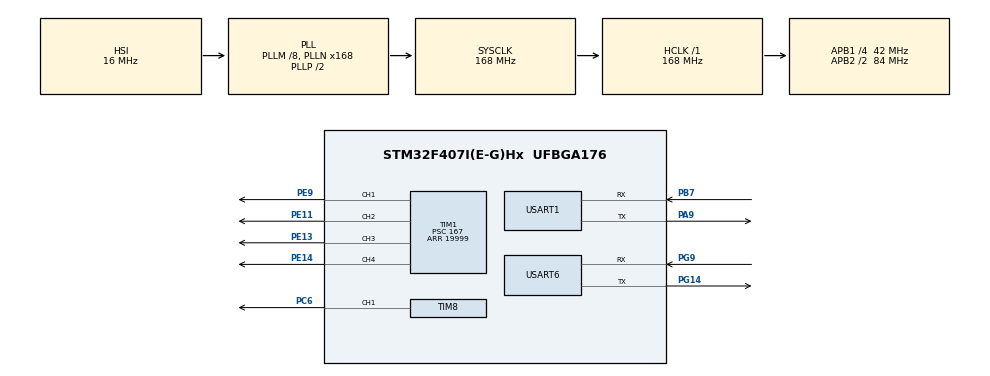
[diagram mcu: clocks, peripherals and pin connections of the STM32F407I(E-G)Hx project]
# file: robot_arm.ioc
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FREERTOS.Tasks01=defaultTask,0,128,StartDefaultTask,Default,NULL,Dynamic,NULL,NULL
Mcu.Family=STM32F4
Mcu.Name=STM32F407I(E-G)Hx
Mcu.Package=UFBGA176
NVIC.PriorityGroup=NVIC_PRIORITYGROUP_4
NVIC.TIM6_DAC_IRQn=true\:15\:0\:false\:false\:true\:false\:false\:true\:true
NVIC.TimeBase=TIM6_DAC_IRQn
NVIC.TimeBaseIP=TIM6
NVIC.USART1_IRQn=true\:5\:0\:false\:false\:true\:true\:true\:true\:true
NVIC.USART6_IRQn=true\:5\:0\:false\:false\:true\:true\:true\:true\:true
PA13.Mode=Serial_Wire
PA13.Signal=SYS_JTMS-SWDIO
PA14.Mode=Serial_Wire
PA14.Signal=SYS_JTCK-SWCLK
PA9.Mode=Asynchronous
PA9.Signal=USART1_TX
PB7.Mode=Asynchronous
PB7.Signal=USART1_RX
PC6.Signal=S_TIM8_CH1
PE11.Signal=S_TIM1_CH2
PE13.Signal=S_TIM1_CH3
PE14.Signal=S_TIM1_CH4
PE9.Signal=S_TIM1_CH1
PG14.Mode=Asynchronous
PG14.Signal=USART6_TX
PG9.Mode=Asynchronous
PG9.Signal=USART6_RX
PH0-OSC_IN.Mode=HSE-External-Oscillator
PH0-OSC_IN.Signal=RCC_OSC_IN
PH1-OSC_OUT.Mode=HSE-External-Oscillator
PH1-OSC_OUT.Signal=RCC_OSC_OUT
ProjectManager.HeapSize=0x200
ProjectManager.StackSize=0x400
ProjectManager.TargetToolchain=MDK-ARM V5.32
RCC.48MHZClocksFreq_Value=84000000
RCC.AHBFreq_Value=168000000
RCC.APB1CLKDivider=RCC_HCLK_DIV4
RCC.APB1Freq_Value=42000000
RCC.APB1TimFreq_Value=84000000
RCC.APB2CLKDivider=RCC_HCLK_DIV2
RCC.APB2Freq_Value=84000000
RCC.APB2TimFreq_Value=168000000
RCC.CortexFreq_Value=168000000
RCC.HCLKFreq_Value=168000000
RCC.HSE_VALUE=25000000
RCC.HSI_VALUE=16000000
RCC.LSE_VALUE=32768
RCC.PLLM=8
RCC.PLLN=168
RCC.SYSCLKFreq_VALUE=168000000
RCC.SYSCLKSource=RCC_SYSCLKSOURCE_PLLCLK
RCC.VCOOutputFreq_Value=336000000
SH.S_TIM1_CH1.0=TIM1_CH1,PWM Generation1 CH1
SH.S_TIM1_CH2.0=TIM1_CH2,PWM Generation2 CH2
SH.S_TIM1_CH3.0=TIM1_CH3,PWM Generation3 CH3
SH.S_TIM1_CH4.0=TIM1_CH4,PWM Generation4 CH4
SH.S_TIM8_CH1.0=TIM8_CH1,PWM Generation1 CH1
TIM1.AutoReloadPreload=TIM_AUTORELOAD_PRELOAD_ENABLE
TIM1.Channel-PWM\ Generation1\ CH1=TIM_CHANNEL_1
TIM1.Channel-PWM\ Generation2\ CH2=TIM_CHANNEL_2
TIM1.Channel-PWM\ Generation3\ CH3=TIM_CHANNEL_3
TIM1.Channel-PWM\ Generation4\ CH4=TIM_CHANNEL_4
TIM1.Period=19999
TIM1.Prescaler=167
TIM1.Pulse-PWM\ Generation2\ CH2=1500
TIM1.Pulse-PWM\ Generation3\ CH3=1500
TIM1.Pulse-PWM\ Generation4\ CH4=1500
TIM8.Channel-PWM\ Generation1\ CH1=TIM_CHANNEL_1
TIM8.Period=19999
TIM8.Prescaler=167
USART1.VirtualMode=VM_ASYNC
USART6.VirtualMode=VM_ASYNC
VP_FREERTOS_VS_CMSIS_V1.Mode=CMSIS_V1
VP_SYS_VS_tim6.Mode=TIM6
board=custom

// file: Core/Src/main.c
/* USER CODE BEGIN Header */
/**
  ******************************************************************************
  * @file           : main.c
  * @brief          : Main program body
  ******************************************************************************
  * @attention
  *
  * Copyright (c) 2024 STMicroelectronics.
  * All rights reserved.
  *
  * This software is licensed under terms that can be found in the LICENSE file
  * in the root directory of this software component.
  * If no LICENSE file comes with this software, it is provided AS-IS.
  *
  ******************************************************************************
  */
/* USER CODE END Header */
#include "main.h"
#include "cmsis_os.h"
#include "tim.h"
#include "usart.h"
#include "gpio.h"

/* USER CODE BEGIN Includes */
#include "math.h"
#include "string.h"
#include "y_servo.h"
#include "y_global.h"
#include "y_kinematics.h"
#include "stdio.h"
#include "HMI.h"
#include "Openmv_Rx_Tx.h"
#include "flow_task.h"
/* USER CODE END Includes */

/* USER CODE BEGIN PV */

extern uint8_t revbuf[1];
extern uint8_t val1,val2,val3,val4,val5,val6;

extern uint8_t Rx_Openmv_mode;
extern uint8_t Tx_Openmv_mode;
extern uint8_t USART2_Rxbuffer;

extern int8_t Chess_State[9];//格子中棋子的状态(无棋子/黑棋子/白棋子)。-1,0,1
extern uint8_t Chess_Location[2][9];//格子的坐标(x, y)。

extern position blackStack[5];		//存放黑棋的坐标
extern position whiteStack[5];		//存放白棋的坐标

extern position chess_center[9];	//棋盘格子中心坐标

/* USER CODE END PV */

void SystemClock_Config(void);
void MX_FREERTOS_Init(void);

/* USER CODE BEGIN 0 */

//到末端磁铁的关节长度，标定得出
float my_L3 = 20;

/* USER CODE END 0 */

int main(void)
{

  /* MCU Configuration--------------------------------------------------------*/

  /* Reset of all peripherals, Initializes the Flash interface and the Systick. */
  HAL_Init();

  /* Configure the system clock */
  SystemClock_Config();

  /* Initialize all configured peripherals */
  MX_GPIO_Init();
  MX_TIM1_Init();
  MX_USART6_UART_Init();
  MX_USART1_UART_Init();
  MX_TIM8_Init();
  /* USER CODE BEGIN 2 */
	//初始化
	HAL_TIM_Base_Start(&htim1);
	HAL_TIM_Base_Start(&htim8);
	HAL_TIM_PWM_Start(&htim1,TIM_CHANNEL_1);
	HAL_TIM_PWM_Start(&htim1,TIM_CHANNEL_2);
	HAL_TIM_PWM_Start(&htim1,TIM_CHANNEL_3);
	HAL_TIM_PWM_Start(&htim1,TIM_CHANNEL_4);
	HAL_TIM_PWM_Start(&htim8,TIM_CHANNEL_1);
	servo_init();		//机械臂归位
	HAL_Delay(2000);//等待归为完成
	//设置逆运动学必要参数：关节长度
	setup_kinematics(90, 105, 98, my_L3, &kinematics);

	//初始化，使能串口接收中断，使能一次进一次中断
	HAL_UART_Receive_IT(&huart1, revbuf, sizeof(revbuf));
	HAL_UART_Receive_IT(&huart6,&USART2_Rxbuffer,1);

	blackStack[0].x = -81;
	blackStack[0].y = 55;
	blackStack[1].x = -83;
	blackStack[1].y = 80;
	blackStack[2].x = -80;
	blackStack[2].y = 107;
	blackStack[3].x = -81;
	blackStack[3].y = 129;
	blackStack[4].x = -87;
	blackStack[4].y = 153;

	whiteStack[0].x = 79;
	whiteStack[0].y = 57;
	whiteStack[1].x = 79;
	whiteStack[1].y = 82;
	whiteStack[2].x = 79;
	whiteStack[2].y = 107;
	whiteStack[3].x = 79;
	whiteStack[3].y = 133;
	whiteStack[4].x = 79;
	whiteStack[4].y = 159;

	chess_center[0].x = 30;
	chess_center[0].y = 95;
	chess_center[1].x = -3;
	chess_center[1].y = 95;
	chess_center[2].x = -36;
	chess_center[2].y = 95;
	chess_center[3].x = 30;
	chess_center[3].y = 126;
	chess_center[4].x = -3;
	chess_center[4].y = 126;
	chess_center[5].x = -36;
	chess_center[5].y = 126;
	chess_center[6].x = 30;
	chess_center[6].y = 160;
	chess_center[7].x = -3;
	chess_center[7].y = 160;
	chess_center[8].x = -36;
	chess_center[8].y = 160;

  /* USER CODE END 2 */

  /* Call init function for freertos objects (in cmsis_os2.c) */
  MX_FREERTOS_Init();

  /* Start scheduler */
  osKernelStart();

  /* We should never get here as control is now taken by the scheduler */

  /* Infinite loop */
  while (1)
  {

    /* USER CODE BEGIN 3 */
	  //下列函数移到freeRTOS里的task完成了
//	servo_inc_offset(duoji_index);
//	__HAL_TIM_SET_COMPARE(&htim1,TIM_CHANNEL_1,duoji_doing[duoji_index].cur);
//	duoji_index++;
//	servo_inc_offset(duoji_index);
//	__HAL_TIM_SET_COMPARE(&htim1,TIM_CHANNEL_2,duoji_doing[duoji_index].cur);
//	duoji_index++;
//	servo_inc_offset(duoji_index);
//	__HAL_TIM_SET_COMPARE(&htim1,TIM_CHANNEL_3,duoji_doing[duoji_index].cur);
//	duoji_index++;
//	servo_inc_offset(duoji_index);
//	__HAL_TIM_SET_COMPARE(&htim1,TIM_CHANNEL_4,duoji_doing[duoji_index].cur);
//	duoji_index=0;
  }
  /* USER CODE END 3 */
}

void SystemClock_Config(void)
{
  RCC_OscInitTypeDef RCC_OscInitStruct = {0};
  RCC_ClkInitTypeDef RCC_ClkInitStruct = {0};

  /** Configure the main internal regulator output voltage
  */
  __HAL_RCC_PWR_CLK_ENABLE();
  __HAL_PWR_VOLTAGESCALING_CONFIG(PWR_REGULATOR_VOLTAGE_SCALE1);

  /** Initializes the RCC Oscillators according to the specified parameters
  * in the RCC_OscInitTypeDef structure.
  */
  RCC_OscInitStruct.OscillatorType = RCC_OSCILLATORTYPE_HSI;
  RCC_OscInitStruct.HSIState = RCC_HSI_ON;
  RCC_OscInitStruct.HSICalibrationValue = RCC_HSICALIBRATION_DEFAULT;
  RCC_OscInitStruct.PLL.PLLState = RCC_PLL_ON;
  RCC_OscInitStruct.PLL.PLLSource = RCC_PLLSOURCE_HSI;
  RCC_OscInitStruct.PLL.PLLM = 8;
  RCC_OscInitStruct.PLL.PLLN = 168;
  RCC_OscInitStruct.PLL.PLLP = RCC_PLLP_DIV2;
  RCC_OscInitStruct.PLL.PLLQ = 4;
  if (HAL_RCC_OscConfig(&RCC_OscInitStruct) != HAL_OK)
  {
    Error_Handler();
  }

  /** Initializes the CPU, AHB and APB buses clocks
  */
  RCC_ClkInitStruct.ClockType = RCC_CLOCKTYPE_HCLK|RCC_CLOCKTYPE_SYSCLK
                              |RCC_CLOCKTYPE_PCLK1|RCC_CLOCKTYPE_PCLK2;
  RCC_ClkInitStruct.SYSCLKSource = RCC_SYSCLKSOURCE_PLLCLK;
  RCC_ClkInitStruct.AHBCLKDivider = RCC_SYSCLK_DIV1;
  RCC_ClkInitStruct.APB1CLKDivider = RCC_HCLK_DIV4;
  RCC_ClkInitStruct.APB2CLKDivider = RCC_HCLK_DIV2;

  if (HAL_RCC_ClockConfig(&RCC_ClkInitStruct, FLASH_LATENCY_5) != HAL_OK)
  {
    Error_Handler();
  }
}

/* USER CODE BEGIN 4 */

////使用串口函数printf
//#ifdef __GNUC__

//  #define PUTCHAR_PROTOTYPE int __io_putchar(int ch)

//#else

//  #define PUTCHAR_PROTOTYPE int fputc(int ch, FILE *f)

//#endif /* __GNUC__ */
//
////串口1中断，与串口屏进行通信
//int fputc(int ch,FILE *f)
//{
//	HAL_UART_Transmit(&huart1,(uint8_t *)&ch,1,0xFFFF);
//	return ch;
//}

/* USER CODE END 4 */

void HAL_TIM_PeriodElapsedCallback(TIM_HandleTypeDef *htim)
{
  if (htim->Instance == TIM6) {
    HAL_IncTick();
  }
}

void Error_Handler(void)
{
  __disable_irq();
  while (1)
  {
  }
}

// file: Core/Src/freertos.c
/* USER CODE BEGIN Header */
/**
  ******************************************************************************
  * File Name          : freertos.c
  * Description        : Code for freertos applications
  ******************************************************************************
  * @attention
  *
  * Copyright (c) 2024 STMicroelectronics.
  * All rights reserved.
  *
  * This software is licensed under terms that can be found in the LICENSE file
  * in the root directory of this software component.
  * If no LICENSE file comes with this software, it is provided AS-IS.
  *
  ******************************************************************************
  */
/* USER CODE END Header */

#include "FreeRTOS.h"
#include "task.h"
#include "main.h"
#include "cmsis_os.h"

/* USER CODE BEGIN Includes */
#include "servo_task.h"
#include "flow_task.h"
#include "HMI.h"
/* USER CODE END Includes */

/* USER CODE BEGIN Variables */
osThreadId servoTaskHandle;
osThreadId flowTaskHandle;
osThreadId HMITaskHandle;
/* USER CODE END Variables */
osThreadId defaultTaskHandle;

void StartDefaultTask(void const * argument);

void MX_FREERTOS_Init(void); /* (MISRA C 2004 rule 8.1) */

/* GetIdleTaskMemory prototype (linked to static allocation support) */
void vApplicationGetIdleTaskMemory( StaticTask_t **ppxIdleTaskTCBBuffer, StackType_t **ppxIdleTaskStackBuffer, uint32_t *pulIdleTaskStackSize );

/* USER CODE BEGIN GET_IDLE_TASK_MEMORY */
static StaticTask_t xIdleTaskTCBBuffer;
static StackType_t xIdleStack[configMINIMAL_STACK_SIZE];

void vApplicationGetIdleTaskMemory( StaticTask_t **ppxIdleTaskTCBBuffer, StackType_t **ppxIdleTaskStackBuffer, uint32_t *pulIdleTaskStackSize )
{
  *ppxIdleTaskTCBBuffer = &xIdleTaskTCBBuffer;
  *ppxIdleTaskStackBuffer = &xIdleStack[0];
  *pulIdleTaskStackSize = configMINIMAL_STACK_SIZE;
  /* place for user code */
}
/* USER CODE END GET_IDLE_TASK_MEMORY */

void MX_FREERTOS_Init(void) {

  /* Create the thread(s) */
  /* definition and creation of defaultTask */
  osThreadDef(defaultTask, StartDefaultTask, osPriorityNormal, 0, 128);
  defaultTaskHandle = osThreadCreate(osThread(defaultTask), NULL);

  /* USER CODE BEGIN RTOS_THREADS */
  osThreadDef(servoTask, servo_Task, osPriorityAboveNormal, 0, 128);
  servoTaskHandle = osThreadCreate(osThread(servoTask), NULL);

  osThreadDef(flowTask, flow_Task, osPriorityNormal, 0, 128);
  flowTaskHandle = osThreadCreate(osThread(flowTask), NULL);

	osThreadDef(HMITask, HMI_Task, osPriorityNormal, 0, 128);
  HMITaskHandle = osThreadCreate(osThread(HMITask), NULL);
  /* USER CODE END RTOS_THREADS */

}

void StartDefaultTask(void const * argument)
{
  for(;;)
  {
    osDelay(1);
  }
}
